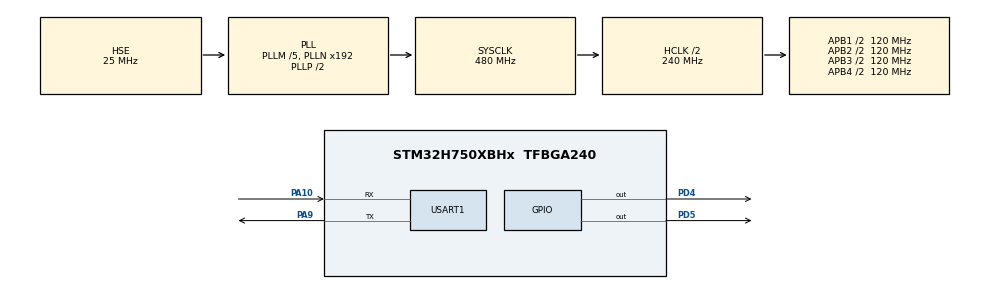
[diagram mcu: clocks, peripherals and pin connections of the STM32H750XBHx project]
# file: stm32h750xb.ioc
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CORTEX_M7.AccessPermission_Spec=MPU_REGION_FULL_ACCESS
CORTEX_M7.BaseAddress_Spec=0xD0000000
CORTEX_M7.CPU_DCache=Enabled
CORTEX_M7.CPU_ICache=Enabled
CORTEX_M7.DisableExec_Spec=MPU_INSTRUCTION_ACCESS_ENABLE
CORTEX_M7.IsCacheable_Spec=MPU_ACCESS_CACHEABLE
CORTEX_M7.IsShareable_Spec=MPU_ACCESS_NOT_SHAREABLE
CORTEX_M7.MPU_Control=MPU_HFNMI_PRIVDEF
CORTEX_M7.Size_Spec=MPU_REGION_SIZE_64MB
CORTEX_M7.SubRegionDisable_Spec=0x00
CORTEX_M7.default_mode_Activation=1
Mcu.Family=STM32H7
Mcu.Name=STM32H750XBHx
Mcu.Package=TFBGA240
NVIC.PriorityGroup=NVIC_PRIORITYGROUP_4
PA10.Mode=Asynchronous
PA10.Signal=USART1_RX
PA9.Mode=Asynchronous
PA9.Signal=USART1_TX
PC14-OSC32_IN\ (OSC32_IN).Mode=LSE-External-Oscillator
PC14-OSC32_IN\ (OSC32_IN).Signal=RCC_OSC32_IN
PC15-OSC32_OUT\ (OSC32_OUT).Mode=LSE-External-Oscillator
PC15-OSC32_OUT\ (OSC32_OUT).Signal=RCC_OSC32_OUT
PD4.PinState=GPIO_PIN_SET
PD4.Signal=GPIO_Output
PD5.PinState=GPIO_PIN_SET
PD5.Signal=GPIO_Output
PH0-OSC_IN\ (PH0).Mode=HSE-External-Oscillator
PH0-OSC_IN\ (PH0).Signal=RCC_OSC_IN
PH1-OSC_OUT\ (PH1).Mode=HSE-External-Oscillator
PH1-OSC_OUT\ (PH1).Signal=RCC_OSC_OUT
ProjectManager.HeapSize=0x200
ProjectManager.StackSize=0x400
ProjectManager.TargetToolchain=MDK-ARM V5.32
RCC.ADCFreq_Value=480000000
RCC.APB1Freq_Value=120000000
RCC.APB2Freq_Value=120000000
RCC.APB3Freq_Value=120000000
RCC.APB4Freq_Value=120000000
RCC.CortexFreq_Value=480000000
RCC.D1PPRE=RCC_APB3_DIV2
RCC.D2PPRE1=RCC_APB1_DIV2
RCC.D2PPRE2=RCC_APB2_DIV2
RCC.D3PPRE=RCC_APB4_DIV2
RCC.DIVM1=5
RCC.DIVM2=5
RCC.DIVN1=192
RCC.DIVN2=192
RCC.HCLKFreq_Value=240000000
RCC.HPRE=RCC_HCLK_DIV2
RCC.PLLSourceVirtual=RCC_PLLSOURCE_HSE
RCC.ProductRev=revV
RCC.SYSCLKFreq_VALUE=480000000
RCC.SYSCLKSource=RCC_SYSCLKSOURCE_PLLCLK
RCC.USBFreq_Value=480000000
USART1.VirtualMode-Asynchronous=VM_ASYNC
board=custom

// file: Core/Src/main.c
/* USER CODE BEGIN Header */
/**
  ******************************************************************************
  * @file           : main.c
  * @brief          : Main program body
  ******************************************************************************
  * @attention
  *
  * Copyright (c) 2024 STMicroelectronics.
  * All rights reserved.
  *
  * This software is licensed under terms that can be found in the LICENSE file
  * in the root directory of this software component.
  * If no LICENSE file comes with this software, it is provided AS-IS.
  *
  ******************************************************************************
  */
/* USER CODE END Header */
#include "main.h"
#include "usart.h"
#include "gpio.h"

/* USER CODE BEGIN Includes */
#include <stdarg.h>
#include <stdio.h>
#include "dual_w25q256jv.h"
/* USER CODE END Includes */

void SystemClock_Config(void);
static void MPU_Config(void);

/* USER CODE BEGIN 0 */
static void vtor_config(void)
{
    /* relocate interruption vector table */
    SCB->VTOR = QSPI_BASE;

    /* clear all NVIC enable and pending registers */
    for (uint8_t i = 0; i < 8; i++)
    {
        NVIC->ICER[i] = 0xFFFFFFFF;
        NVIC->ICPR[i] = 0xFFFFFFFF;
    }

    /* re-enable interruption */
    __enable_irq();
    __set_PRIMASK(0);
}
/* USER CODE END 0 */

int main(void)
{

    /* USER CODE BEGIN 1 */
    vtor_config();
    /* USER CODE END 1 */

    /* MPU Configuration--------------------------------------------------------*/
    MPU_Config();

    /* Enable the CPU Cache */

    /* Enable I-Cache---------------------------------------------------------*/
    SCB_EnableICache();

    /* Enable D-Cache---------------------------------------------------------*/
    SCB_EnableDCache();

    /* MCU Configuration--------------------------------------------------------*/

    /* Reset of all peripherals, Initializes the Flash interface and the Systick. */
    HAL_Init();

    /* Configure the system clock */
    SystemClock_Config();

    /* Initialize all configured peripherals */
    MX_GPIO_Init();
    MX_USART1_UART_Init();

    /* Infinite loop */
    /* USER CODE BEGIN WHILE */
    while (1)
    {
				printf("Looping\r\n");
        HAL_Delay(1000);
        /* USER CODE END WHILE */

    }
}

void SystemClock_Config(void)
{
    RCC_OscInitTypeDef RCC_OscInitStruct = {0};
    RCC_ClkInitTypeDef RCC_ClkInitStruct = {0};

    /** Supply configuration update enable
    */
    HAL_PWREx_ConfigSupply(PWR_LDO_SUPPLY);

    /** Configure the main internal regulator output voltage
    */
    __HAL_PWR_VOLTAGESCALING_CONFIG(PWR_REGULATOR_VOLTAGE_SCALE1);

    while (!__HAL_PWR_GET_FLAG(PWR_FLAG_VOSRDY)) {}

    __HAL_RCC_SYSCFG_CLK_ENABLE();
    __HAL_PWR_VOLTAGESCALING_CONFIG(PWR_REGULATOR_VOLTAGE_SCALE0);

    while (!__HAL_PWR_GET_FLAG(PWR_FLAG_VOSRDY)) {}

    /** Initializes the RCC Oscillators according to the specified parameters
    * in the RCC_OscInitTypeDef structure.
    */
    RCC_OscInitStruct.OscillatorType = RCC_OSCILLATORTYPE_HSE;
    RCC_OscInitStruct.HSEState = RCC_HSE_ON;
    RCC_OscInitStruct.PLL.PLLState = RCC_PLL_ON;
    RCC_OscInitStruct.PLL.PLLSource = RCC_PLLSOURCE_HSE;
    RCC_OscInitStruct.PLL.PLLM = 5;
    RCC_OscInitStruct.PLL.PLLN = 192;
    RCC_OscInitStruct.PLL.PLLP = 2;
    RCC_OscInitStruct.PLL.PLLQ = 2;
    RCC_OscInitStruct.PLL.PLLR = 2;
    RCC_OscInitStruct.PLL.PLLRGE = RCC_PLL1VCIRANGE_2;
    RCC_OscInitStruct.PLL.PLLVCOSEL = RCC_PLL1VCOWIDE;
    RCC_OscInitStruct.PLL.PLLFRACN = 0;
    if (HAL_RCC_OscConfig(&RCC_OscInitStruct) != HAL_OK)
    {
        Error_Handler();
    }

    /** Initializes the CPU, AHB and APB buses clocks
    */
    RCC_ClkInitStruct.ClockType = RCC_CLOCKTYPE_HCLK | RCC_CLOCKTYPE_SYSCLK
                                  | RCC_CLOCKTYPE_PCLK1 | RCC_CLOCKTYPE_PCLK2
                                  | RCC_CLOCKTYPE_D3PCLK1 | RCC_CLOCKTYPE_D1PCLK1;
    RCC_ClkInitStruct.SYSCLKSource = RCC_SYSCLKSOURCE_PLLCLK;
    RCC_ClkInitStruct.SYSCLKDivider = RCC_SYSCLK_DIV1;
    RCC_ClkInitStruct.AHBCLKDivider = RCC_HCLK_DIV2;
    RCC_ClkInitStruct.APB3CLKDivider = RCC_APB3_DIV2;
    RCC_ClkInitStruct.APB1CLKDivider = RCC_APB1_DIV2;
    RCC_ClkInitStruct.APB2CLKDivider = RCC_APB2_DIV2;
    RCC_ClkInitStruct.APB4CLKDivider = RCC_APB4_DIV2;

    if (HAL_RCC_ClockConfig(&RCC_ClkInitStruct, FLASH_LATENCY_4) != HAL_OK)
    {
        Error_Handler();
    }
}

/* USER CODE BEGIN 4 */
/* ------------------redirect printf to uart-------------------*/
#if !defined(__MICROLIB)
#if defined(__GNUC__) || defined(__clang__)
    __asm(".global __use_no_semihosting\n\t");
#elif defined(__CC_ARM)
    #pragma import(__use_no_semihosting)
#endif

void _sys_exit(int x)
{
    x = x;
}

void _ttywrch(int ch) //__use_no_semihosting was requested, _ttywrch was
{
    ch = ch;
}

struct __FILE
{
    int handle;
};  // add this code in GNU environment
FILE __stdout;
#endif

#if defined(__GNUC__) && !defined(__clang__)
    #define PUTCHAR_PROTOTYPE int __io_putchar(int ch)
#else
    #define PUTCHAR_PROTOTYPE int fputc(int ch, FILE *f)
#endif
PUTCHAR_PROTOTYPE
{
    HAL_UART_Transmit(&huart1, (uint8_t *)&ch, 1, 1000);
    return ch;
}
/* USER CODE END 4 */

/* MPU Configuration */

void MPU_Config(void)
{
    MPU_Region_InitTypeDef MPU_InitStruct = {0};

    /* Disables the MPU */
    HAL_MPU_Disable();

    /** Initializes and configures the Region and the memory to be protected
    */
    MPU_InitStruct.Enable = MPU_REGION_ENABLE;
    MPU_InitStruct.Number = MPU_REGION_NUMBER0;
    MPU_InitStruct.BaseAddress = 0xD0000000;
    MPU_InitStruct.Size = MPU_REGION_SIZE_64MB;
    MPU_InitStruct.SubRegionDisable = 0x00;
    MPU_InitStruct.TypeExtField = MPU_TEX_LEVEL0;
    MPU_InitStruct.AccessPermission = MPU_REGION_FULL_ACCESS;
    MPU_InitStruct.DisableExec = MPU_INSTRUCTION_ACCESS_ENABLE;
    MPU_InitStruct.IsShareable = MPU_ACCESS_NOT_SHAREABLE;
    MPU_InitStruct.IsCacheable = MPU_ACCESS_CACHEABLE;
    MPU_InitStruct.IsBufferable = MPU_ACCESS_NOT_BUFFERABLE;

    HAL_MPU_ConfigRegion(&MPU_InitStruct);
    /* Enables the MPU */
    HAL_MPU_Enable(MPU_HFNMI_PRIVDEF);

}

void Error_Handler(void)
{
    __disable_irq();
    while (1)
    {
    }
}
